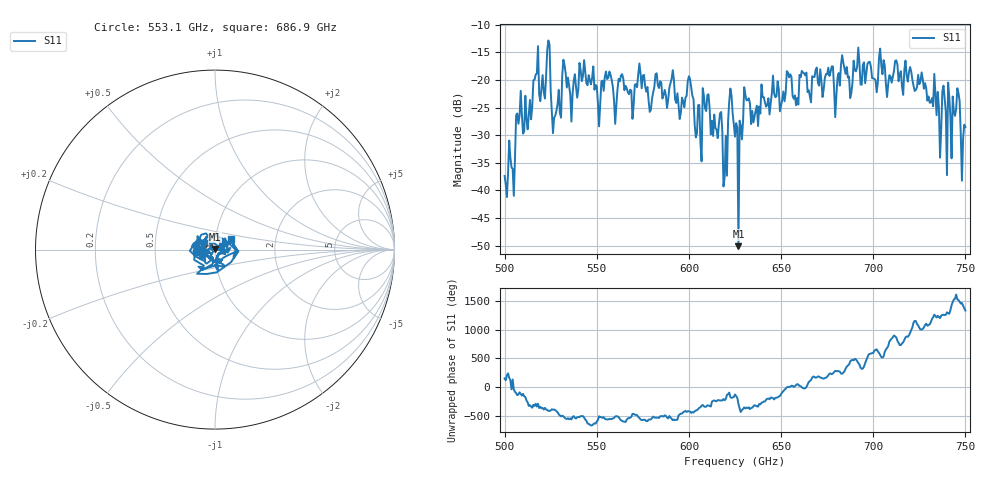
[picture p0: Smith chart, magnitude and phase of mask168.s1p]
!Created with skrf (http://scikit-rf.org).
# GHz S MA R 50.0
!freq magS11 angS11
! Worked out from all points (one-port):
!   401 points, 500 GHz to 750 GHz, reference 50 ohm
!   lowest |S11| = -50.1 dB at 626.9 GHz (marker M1), VSWR 1.01, Z = 50.1 + j0.287 ohm
!   |S11| at or under -10 dB: start of sweep to end of sweep
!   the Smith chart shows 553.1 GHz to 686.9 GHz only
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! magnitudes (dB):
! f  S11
! 500 GHz  -37.4
! 504.4 GHz  -36.1
! 507.5 GHz  -27.9
! 513.8 GHz  -23.6
! 516.9 GHz  -19.0
! 520.6 GHz  -19.1
! 523.8 GHz  -12.9
! 526.9 GHz  -26.8
! 531.2 GHz  -19.3
! 562.5 GHz  -20.3
! 579.4 GHz  -25.4
! 590.6 GHz  -19.8
! 593.8 GHz  -22.4
! 600.6 GHz  -19.9
! 605.6 GHz  -24.5
! 609.4 GHz  -25.6
! 616.9 GHz  -26.1
! 619.4 GHz  -37.6
! 622.5 GHz  -21.6
! 625 GHz  -30.3
! 626.9 GHz  -50.1
! 631.2 GHz  -23.7
! 635 GHz  -27.7
! 656.2 GHz  -22.9
! 683.8 GHz  -16.9
! 687.5 GHz  -23.3
! 718.8 GHz  -20.3
! 750 GHz  -28.5
